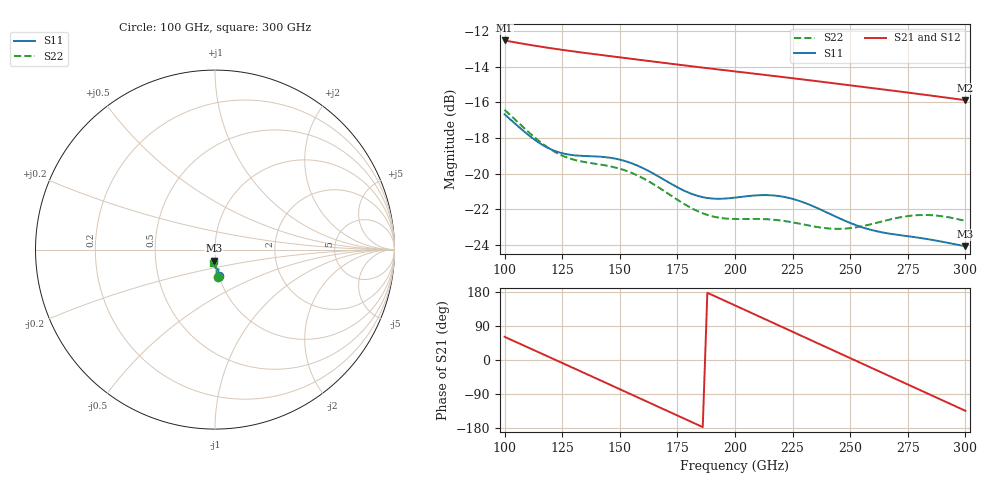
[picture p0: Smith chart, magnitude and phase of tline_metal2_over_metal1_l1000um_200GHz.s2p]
#  GHZ S DB R 50
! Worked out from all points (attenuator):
!   101 points, 100 GHz to 300 GHz, reference 50 ohm
!   highest |S21| = -12.52 dB at 100 GHz (marker M1); lowest = -15.9 dB at 300 GHz (marker M2)
!   lowest |S11| = -24.1 dB at 300 GHz (marker M3), VSWR 1.13, Z = 48.9 - j6.1 ohm
!   |S11| at or under -10 dB: start of sweep to end of sweep
!   |S22| runs from -23.1 to -16.4 dB; largest |S21 - S12| = 2.6e-13
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100  -16.67 -80.9  -12.52 61.1  -12.52 61.1  -16.42 -83.4
110  -17.79 -82.2  -12.75 33.6  -12.75 33.6  -17.62 -85.9
118  -18.50 -81.3  -12.91 11.5  -12.91 11.5  -18.47 -85.9
126  -18.88 -80.0  -13.06 -10.6  -13.06 -10.6  -19.04 -84.8
134  -19.00 -79.6  -13.20 -32.7  -13.20 -32.7  -19.33 -84.2
144  -19.08 -81.4  -13.37 -60.4  -13.37 -60.4  -19.54 -85.5
152  -19.28 -84.1  -13.50 -82.6  -13.50 -82.6  -19.80 -87.8
160  -19.69 -86.9  -13.63 -104.8  -13.63 -104.8  -20.25 -90.3
168  -20.25 -88.7  -13.76 -127.0  -13.76 -127.0  -20.87 -92.1
176  -20.83 -89.0  -13.89 -149.3  -13.89 -149.3  -21.55 -92.5
184  -21.26 -87.9  -14.01 -171.5  -14.01 -171.5  -22.12 -91.2
192  -21.41 -86.5  -14.13 166.3  -14.13 166.3  -22.45 -89.3
200  -21.35 -86.2  -14.26 144.0  -14.26 144.0  -22.55 -87.8
210  -21.21 -87.9  -14.41 116.2  -14.41 116.2  -22.54 -87.5
218  -21.24 -90.5  -14.53 94.0  -14.53 94.0  -22.60 -88.1
226  -21.45 -93.4  -14.65 71.7  -14.65 71.7  -22.76 -88.8
234  -21.83 -95.9  -14.78 49.4  -14.78 49.4  -22.96 -88.9
250  -22.77 -97.7  -15.04 4.9  -15.04 4.9  -23.06 -87.4
258  -23.12 -97.3  -15.17 -17.3  -15.17 -17.3  -22.87 -87.1
268  -23.39 -96.6  -15.33 -45.1  -15.33 -45.1  -22.55 -88.5
284  -23.69 -96.8  -15.60 -89.6  -15.60 -89.6  -22.32 -93.8
300  -24.07 -96.8  -15.87 -134.0  -15.87 -134.0  -22.65 -99.1
